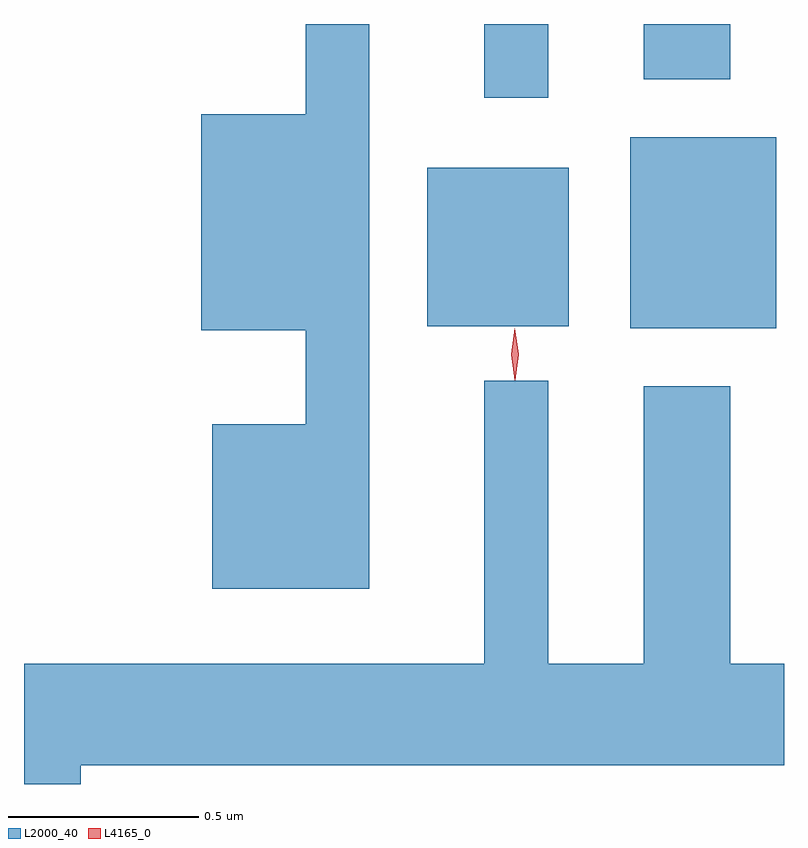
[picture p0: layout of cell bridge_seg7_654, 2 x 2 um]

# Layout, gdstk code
import gdstk
lib = gdstk.Library(unit=1e-6, precision=1e-09)
def R(c, l, rs):  # rectangles x0, y0, x1, y1
    for r in rs: c.add(gdstk.rectangle(r[:2], r[2:], *l))
def P(c, l, *ps):  # polygons
    for p in ps: c.add(gdstk.Polygon(p, *l))
L2000_40 = (2000, 40)
L4165_0 = (4165, 0)

bridge_seg7_654 = lib.new_cell('bridge_seg7_654')
R(bridge_seg7_654, L2000_40, [(820.236,1706.586,820.619,1707.089), (819.701,1706.591,820.074,1707.009), (819.851,1707.193,820.019,1707.387), (820.271,1707.241,820.499,1707.387)])
P(bridge_seg7_654, L2000_40, [(819.549,1707.387),(819.381,1707.387),(819.381,1707.149),(819.106,1707.149),(819.106,1706.581),(819.381,1706.581),(819.381,1706.334),(819.136,1706.334),(819.136,1705.901),(819.549,1705.901)],
  [(818.789,1705.436),(820.64,1705.436),(820.64,1705.704),(820.499,1705.704),(820.499,1706.434),(820.271,1706.434),(820.271,1705.704),(820.019,1705.704),(820.019,1706.448),(819.851,1706.448),(819.851,1705.704),(818.64,1705.704),(818.64,1705.387),(818.789,1705.387)])
P(bridge_seg7_654, L4165_0, [(819.932,1706.45),(819.922,1706.518),(819.931,1706.586),(819.932,1706.586),(819.932,1706.586),(819.942,1706.518),(819.933,1706.45),(819.933,1706.45)],
  [(819.932,1706.453),(819.922,1706.517),(819.931,1706.581),(819.932,1706.582),(819.932,1706.581),(819.942,1706.517),(819.933,1706.453),(819.933,1706.453)])

lib.write_gds('bridge_seg7_654.gds')
